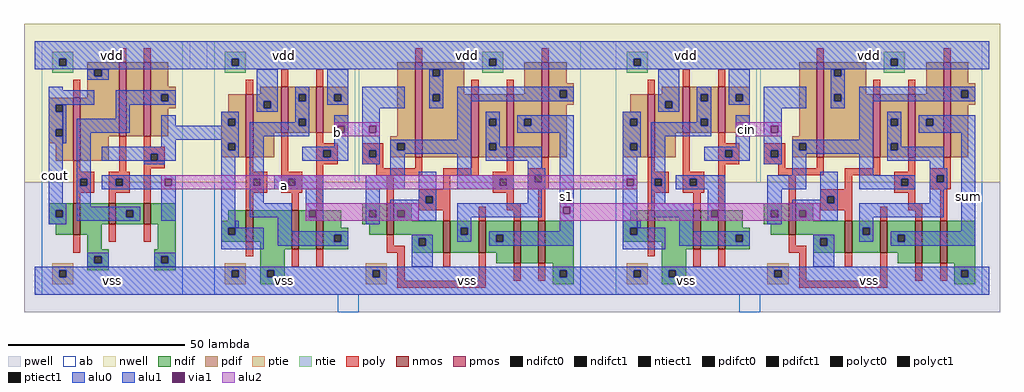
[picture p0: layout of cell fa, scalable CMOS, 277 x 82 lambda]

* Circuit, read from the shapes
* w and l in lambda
.subckt fa a b cin cout s1 sum vdd vss
M1 vss n1 cout vss nfet w=9 l=2
M2 n1 n2 vss vss nfet w=6 l=2
M3 vss n3 n1 vss nfet w=6 l=2
M4 vss n4 n3 vss nfet w=9 l=2
M5 n5 a vss vss nfet w=11 l=2
M6 n4 b n5 vss nfet w=11 l=2
M7 vss b n6 vss nfet w=9 l=2
M8 n7 a vss vss nfet w=9 l=2
M9 s1 b n7 vss nfet w=9 l=2
M10 n8 n6 s1 vss nfet w=12 l=2
M11 vss n7 n8 vss nfet w=12 l=2
M12 vss n9 n2 vss nfet w=9 l=2
M13 n10 s1 vss vss nfet w=11 l=2
M14 n9 cin n10 vss nfet w=11 l=2
M15 vss cin n11 vss nfet w=9 l=2
M16 n12 s1 vss vss nfet w=9 l=2
M17 sum cin n12 vss nfet w=9 l=2
M18 n13 n11 sum vss nfet w=12 l=2
M19 vss n12 n13 vss nfet w=12 l=2
M20 vdd n1 cout vdd pfet w=18 l=2
M21 n14 n2 vdd vdd pfet w=21 l=2
M22 n1 n3 n14 vdd pfet w=21 l=2
M23 vdd n4 n3 vdd pfet w=18 l=2
M24 n4 a vdd vdd pfet w=13 l=2
M25 vdd b n4 vdd pfet w=13 l=2
M26 vdd b n6 vdd pfet w=27 l=2
M27 n7 a vdd vdd pfet w=18 l=2
M28 s1 n6 n7 vdd pfet w=18 l=2
M29 n6 n7 s1 vdd pfet w=27 l=2
M30 vdd n9 n2 vdd pfet w=18 l=2
M31 n9 s1 vdd vdd pfet w=13 l=2
M32 vdd cin n9 vdd pfet w=13 l=2
M33 vdd cin n11 vdd pfet w=27 l=2
M34 n12 s1 vdd vdd pfet w=18 l=2
M35 sum n11 n12 vdd pfet w=18 l=2
M36 n11 n12 sum vdd pfet w=27 l=2
.ends

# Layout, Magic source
magic
tech scmos
<< ab >>
rect -45 5 -5 77
rect -3 69 2 77
rect 4 69 108 77
rect 4 37 44 69
rect 45 37 108 69
rect 4 5 108 37
rect 118 69 222 77
rect 118 37 158 69
rect 159 37 222 69
rect 118 5 222 37
rect 39 0 45 5
rect 153 0 159 5
<< nwell >>
rect -50 37 227 82
<< pwell >>
rect -50 0 227 37
<< poly >>
rect -23 71 -21 75
rect -16 71 -14 75
rect -36 61 -34 66
rect 61 71 63 75
rect 13 62 15 66
rect 23 64 25 69
rect 33 64 35 69
rect -36 40 -34 43
rect -23 40 -21 50
rect -16 47 -14 50
rect -16 45 -10 47
rect -16 43 -14 45
rect -12 43 -10 45
rect -16 41 -10 43
rect -36 38 -30 40
rect -36 36 -34 38
rect -32 36 -30 38
rect -36 34 -30 36
rect -26 38 -20 40
rect -26 36 -24 38
rect -22 36 -20 38
rect -26 34 -20 36
rect -36 31 -34 34
rect -26 31 -24 34
rect -16 31 -14 41
rect 13 40 15 44
rect 23 40 25 51
rect 33 48 35 51
rect 33 46 39 48
rect 33 44 35 46
rect 37 44 39 46
rect 33 42 39 44
rect 46 46 52 48
rect 46 44 48 46
rect 50 44 52 46
rect 97 71 99 75
rect 77 62 79 66
rect 87 62 89 66
rect 175 71 177 75
rect 127 62 129 66
rect 137 64 139 69
rect 147 64 149 69
rect 46 42 52 44
rect 13 38 19 40
rect 13 36 15 38
rect 17 36 19 38
rect 13 34 19 36
rect 23 38 29 40
rect 23 36 25 38
rect 27 36 29 38
rect 23 34 29 36
rect 13 29 15 34
rect 26 29 28 34
rect 33 29 35 42
rect 50 41 52 42
rect 61 41 63 44
rect 77 41 79 44
rect 50 39 63 41
rect 69 39 79 41
rect 87 40 89 44
rect 97 41 99 44
rect 53 31 55 39
rect 69 35 71 39
rect 62 33 71 35
rect 83 38 89 40
rect 83 36 85 38
rect 87 36 89 38
rect 83 34 89 36
rect 93 39 99 41
rect 93 37 95 39
rect 97 37 99 39
rect 93 35 99 37
rect 127 40 129 44
rect 137 40 139 51
rect 147 48 149 51
rect 147 46 153 48
rect 147 44 149 46
rect 151 44 153 46
rect 147 42 153 44
rect 160 46 166 48
rect 160 44 162 46
rect 164 44 166 46
rect 211 71 213 75
rect 191 62 193 66
rect 201 62 203 66
rect 160 42 166 44
rect 127 38 133 40
rect 127 36 129 38
rect 131 36 133 38
rect 62 31 64 33
rect 66 31 71 33
rect -36 17 -34 22
rect -26 20 -24 25
rect -16 20 -14 25
rect 13 16 15 20
rect 62 29 71 31
rect 87 31 89 34
rect 69 26 71 29
rect 79 26 81 30
rect 87 29 91 31
rect 89 26 91 29
rect 96 26 98 35
rect 127 34 133 36
rect 137 38 143 40
rect 137 36 139 38
rect 141 36 143 38
rect 137 34 143 36
rect 127 29 129 34
rect 140 29 142 34
rect 147 29 149 42
rect 164 41 166 42
rect 175 41 177 44
rect 191 41 193 44
rect 164 39 177 41
rect 183 39 193 41
rect 201 40 203 44
rect 211 41 213 44
rect 167 31 169 39
rect 183 35 185 39
rect 176 33 185 35
rect 197 38 203 40
rect 197 36 199 38
rect 201 36 203 38
rect 197 34 203 36
rect 207 39 213 41
rect 207 37 209 39
rect 211 37 213 39
rect 207 35 213 37
rect 176 31 178 33
rect 180 31 185 33
rect 53 19 55 22
rect 26 13 28 18
rect 33 13 35 18
rect 53 17 58 19
rect 56 9 58 17
rect 69 13 71 17
rect 79 9 81 17
rect 127 16 129 20
rect 176 29 185 31
rect 201 31 203 34
rect 183 26 185 29
rect 193 26 195 30
rect 201 29 205 31
rect 203 26 205 29
rect 210 26 212 35
rect 167 19 169 22
rect 89 9 91 14
rect 96 9 98 14
rect 56 7 81 9
rect 140 13 142 18
rect 147 13 149 18
rect 167 17 172 19
rect 170 9 172 17
rect 183 13 185 17
rect 193 9 195 17
rect 203 9 205 14
rect 210 9 212 14
rect 170 7 195 9
<< ndif >>
rect -43 29 -36 31
rect -43 27 -41 29
rect -39 27 -36 29
rect -43 25 -36 27
rect -41 22 -36 25
rect -34 25 -26 31
rect -24 29 -16 31
rect -24 27 -21 29
rect -19 27 -16 29
rect -24 25 -16 27
rect -14 25 -7 31
rect 46 29 53 31
rect 8 26 13 29
rect -34 22 -28 25
rect -32 18 -28 22
rect -12 18 -7 25
rect 6 24 13 26
rect 6 22 8 24
rect 10 22 13 24
rect 6 20 13 22
rect 15 20 26 29
rect -32 16 -26 18
rect -32 14 -30 16
rect -28 14 -26 16
rect -32 12 -26 14
rect -13 16 -7 18
rect 17 18 26 20
rect 28 18 33 29
rect 35 24 40 29
rect 46 27 48 29
rect 50 27 53 29
rect 46 25 53 27
rect 35 22 42 24
rect 48 22 53 25
rect 55 26 60 31
rect 160 29 167 31
rect 122 26 127 29
rect 55 22 69 26
rect 35 20 38 22
rect 40 20 42 22
rect 35 18 42 20
rect 60 21 69 22
rect 60 19 62 21
rect 64 19 69 21
rect -13 14 -11 16
rect -9 14 -7 16
rect -13 12 -7 14
rect 17 12 24 18
rect 60 17 69 19
rect 71 24 79 26
rect 71 22 74 24
rect 76 22 79 24
rect 71 17 79 22
rect 81 22 89 26
rect 81 20 84 22
rect 86 20 89 22
rect 81 17 89 20
rect 17 10 19 12
rect 21 10 24 12
rect 17 8 24 10
rect 84 14 89 17
rect 91 14 96 26
rect 98 14 106 26
rect 120 24 127 26
rect 120 22 122 24
rect 124 22 127 24
rect 120 20 127 22
rect 129 20 140 29
rect 131 18 140 20
rect 142 18 147 29
rect 149 24 154 29
rect 160 27 162 29
rect 164 27 167 29
rect 160 25 167 27
rect 149 22 156 24
rect 162 22 167 25
rect 169 26 174 31
rect 169 22 183 26
rect 149 20 152 22
rect 154 20 156 22
rect 149 18 156 20
rect 174 21 183 22
rect 174 19 176 21
rect 178 19 183 21
rect 100 12 106 14
rect 100 10 102 12
rect 104 10 106 12
rect 100 8 106 10
rect 131 12 138 18
rect 174 17 183 19
rect 185 24 193 26
rect 185 22 188 24
rect 190 22 193 24
rect 185 17 193 22
rect 195 22 203 26
rect 195 20 198 22
rect 200 20 203 22
rect 195 17 203 20
rect 131 10 133 12
rect 135 10 138 12
rect 131 8 138 10
rect 198 14 203 17
rect 205 14 210 26
rect 212 14 220 26
rect 214 12 220 14
rect 214 10 216 12
rect 218 10 220 12
rect 214 8 220 10
<< pdif >>
rect -32 69 -23 71
rect -32 67 -30 69
rect -28 67 -23 69
rect -32 61 -23 67
rect -43 59 -36 61
rect -43 57 -41 59
rect -39 57 -36 59
rect -43 52 -36 57
rect -43 50 -41 52
rect -39 50 -36 52
rect -43 48 -36 50
rect -41 43 -36 48
rect -34 50 -23 61
rect -21 50 -16 71
rect -14 64 -9 71
rect -14 62 -7 64
rect 17 62 23 64
rect -14 60 -11 62
rect -9 60 -7 62
rect -14 58 -7 60
rect -14 50 -9 58
rect 8 57 13 62
rect 6 55 13 57
rect 6 53 8 55
rect 10 53 13 55
rect -34 43 -26 50
rect 6 48 13 53
rect 6 46 8 48
rect 10 46 13 48
rect 6 44 13 46
rect 15 60 23 62
rect 15 58 18 60
rect 20 58 23 60
rect 15 51 23 58
rect 25 62 33 64
rect 25 60 28 62
rect 30 60 33 62
rect 25 55 33 60
rect 25 53 28 55
rect 30 53 33 55
rect 25 51 33 53
rect 35 62 42 64
rect 35 60 38 62
rect 40 60 42 62
rect 35 51 42 60
rect 15 44 21 51
rect 56 50 61 71
rect 54 48 61 50
rect 54 46 56 48
rect 58 46 61 48
rect 54 44 61 46
rect 63 69 75 71
rect 63 67 66 69
rect 68 67 75 69
rect 63 62 75 67
rect 92 62 97 71
rect 63 60 66 62
rect 68 60 77 62
rect 63 44 77 60
rect 79 55 87 62
rect 79 53 82 55
rect 84 53 87 55
rect 79 48 87 53
rect 79 46 82 48
rect 84 46 87 48
rect 79 44 87 46
rect 89 55 97 62
rect 89 53 92 55
rect 94 53 97 55
rect 89 44 97 53
rect 99 65 104 71
rect 99 63 106 65
rect 99 61 102 63
rect 104 61 106 63
rect 131 62 137 64
rect 99 59 106 61
rect 99 44 104 59
rect 122 57 127 62
rect 120 55 127 57
rect 120 53 122 55
rect 124 53 127 55
rect 120 48 127 53
rect 120 46 122 48
rect 124 46 127 48
rect 120 44 127 46
rect 129 60 137 62
rect 129 58 132 60
rect 134 58 137 60
rect 129 51 137 58
rect 139 62 147 64
rect 139 60 142 62
rect 144 60 147 62
rect 139 55 147 60
rect 139 53 142 55
rect 144 53 147 55
rect 139 51 147 53
rect 149 62 156 64
rect 149 60 152 62
rect 154 60 156 62
rect 149 51 156 60
rect 129 44 135 51
rect 170 50 175 71
rect 168 48 175 50
rect 168 46 170 48
rect 172 46 175 48
rect 168 44 175 46
rect 177 69 189 71
rect 177 67 180 69
rect 182 67 189 69
rect 177 62 189 67
rect 206 62 211 71
rect 177 60 180 62
rect 182 60 191 62
rect 177 44 191 60
rect 193 55 201 62
rect 193 53 196 55
rect 198 53 201 55
rect 193 48 201 53
rect 193 46 196 48
rect 198 46 201 48
rect 193 44 201 46
rect 203 55 211 62
rect 203 53 206 55
rect 208 53 211 55
rect 203 44 211 53
rect 213 65 218 71
rect 213 63 220 65
rect 213 61 216 63
rect 218 61 220 63
rect 213 59 220 61
rect 213 44 218 59
<< alu1 >>
rect -47 72 224 77
rect -47 70 -40 72
rect -38 70 9 72
rect 11 70 82 72
rect 84 70 123 72
rect 125 70 196 72
rect 198 70 224 72
rect -47 69 224 70
rect -43 63 -39 64
rect -43 59 -30 63
rect -43 57 -41 59
rect -43 52 -39 57
rect -43 50 -41 52
rect -43 31 -39 50
rect -11 53 -7 56
rect 6 55 11 57
rect 6 53 8 55
rect 10 53 11 55
rect 46 58 58 64
rect -11 49 11 53
rect -11 47 -7 49
rect -28 45 -7 47
rect -28 43 -14 45
rect -12 43 -7 45
rect 6 48 11 49
rect 6 46 8 48
rect 10 46 11 48
rect 6 44 11 46
rect 38 53 42 56
rect 38 51 39 53
rect 41 51 42 53
rect -43 29 -38 31
rect -43 27 -41 29
rect -39 27 -38 29
rect -43 25 -38 27
rect -28 38 -7 39
rect -28 36 -24 38
rect -22 36 -10 38
rect -8 36 -7 38
rect -28 35 -7 36
rect -11 26 -7 35
rect 6 24 10 44
rect 38 47 42 51
rect 29 46 42 47
rect 29 44 35 46
rect 37 44 42 46
rect 29 43 42 44
rect 46 53 51 58
rect 46 51 48 53
rect 50 51 51 53
rect 46 46 51 51
rect 46 44 48 46
rect 50 44 51 46
rect 46 42 51 44
rect 21 38 35 39
rect 21 36 25 38
rect 27 36 35 38
rect 21 35 35 36
rect 6 22 8 24
rect 10 22 18 24
rect 6 18 18 22
rect 30 29 35 35
rect 30 27 31 29
rect 33 27 35 29
rect 30 26 35 27
rect 62 33 67 40
rect 90 55 106 56
rect 90 53 92 55
rect 94 53 106 55
rect 90 51 106 53
rect 62 32 64 33
rect 54 31 64 32
rect 66 31 67 33
rect 54 29 67 31
rect 54 27 56 29
rect 58 27 67 29
rect 54 26 67 27
rect 102 30 106 51
rect 102 28 103 30
rect 105 28 106 30
rect 102 23 106 28
rect 82 22 106 23
rect 82 20 84 22
rect 86 20 106 22
rect 82 19 106 20
rect 120 55 125 57
rect 120 53 122 55
rect 124 53 125 55
rect 160 58 172 64
rect 120 48 125 53
rect 120 46 122 48
rect 124 46 125 48
rect 120 44 125 46
rect 152 53 156 56
rect 152 51 153 53
rect 155 51 156 53
rect 120 38 124 44
rect 120 36 121 38
rect 123 36 124 38
rect 120 24 124 36
rect 152 47 156 51
rect 143 46 156 47
rect 143 44 149 46
rect 151 44 156 46
rect 143 43 156 44
rect 160 53 165 58
rect 160 51 162 53
rect 164 51 165 53
rect 160 46 165 51
rect 160 44 162 46
rect 164 44 165 46
rect 160 42 165 44
rect 135 38 149 39
rect 135 36 139 38
rect 141 36 149 38
rect 135 35 149 36
rect 120 22 122 24
rect 124 22 132 24
rect 120 18 132 22
rect 144 29 149 35
rect 144 27 145 29
rect 147 27 149 29
rect 144 26 149 27
rect 176 33 181 40
rect 204 55 220 56
rect 204 53 206 55
rect 208 53 220 55
rect 204 51 220 53
rect 176 32 178 33
rect 168 31 178 32
rect 180 31 181 33
rect 168 29 181 31
rect 168 27 170 29
rect 172 27 181 29
rect 168 26 181 27
rect 216 23 220 51
rect 196 22 220 23
rect 196 20 198 22
rect 200 20 220 22
rect 196 19 220 20
rect -47 12 224 13
rect -47 10 -40 12
rect -38 10 9 12
rect 11 10 19 12
rect 21 10 49 12
rect 51 10 102 12
rect 104 10 123 12
rect 125 10 133 12
rect 135 10 163 12
rect 165 10 216 12
rect 218 10 224 12
rect -47 5 224 10
<< alu2 >>
rect 38 53 51 54
rect 38 51 39 53
rect 41 51 48 53
rect 50 51 51 53
rect 38 50 51 51
rect 152 53 165 54
rect 152 51 153 53
rect 155 51 162 53
rect 164 51 165 53
rect 152 50 165 51
rect -11 38 124 39
rect -11 36 -10 38
rect -8 36 121 38
rect 123 36 124 38
rect -11 35 124 36
rect 30 29 62 31
rect 30 27 31 29
rect 33 27 56 29
rect 58 27 62 29
rect 30 26 62 27
rect 102 30 176 31
rect 102 28 103 30
rect 105 29 176 30
rect 105 28 145 29
rect 102 27 145 28
rect 147 27 170 29
rect 172 27 176 29
rect 102 26 176 27
<< ptie >>
rect -42 12 -36 14
rect 7 12 13 14
rect -42 10 -40 12
rect -38 10 -36 12
rect -42 8 -36 10
rect 7 10 9 12
rect 11 10 13 12
rect 7 8 13 10
rect 47 12 53 14
rect 47 10 49 12
rect 51 10 53 12
rect 47 8 53 10
rect 121 12 127 14
rect 121 10 123 12
rect 125 10 127 12
rect 121 8 127 10
rect 161 12 167 14
rect 161 10 163 12
rect 165 10 167 12
rect 161 8 167 10
<< ntie >>
rect -42 72 -36 74
rect -42 70 -40 72
rect -38 70 -36 72
rect 7 72 13 74
rect -42 68 -36 70
rect 7 70 9 72
rect 11 70 13 72
rect 80 72 86 74
rect 7 68 13 70
rect 80 70 82 72
rect 84 70 86 72
rect 121 72 127 74
rect 80 68 86 70
rect 121 70 123 72
rect 125 70 127 72
rect 194 72 200 74
rect 121 68 127 70
rect 194 70 196 72
rect 198 70 200 72
rect 194 68 200 70
<< nmos >>
rect -36 22 -34 31
rect -26 25 -24 31
rect -16 25 -14 31
rect 13 20 15 29
rect 26 18 28 29
rect 33 18 35 29
rect 53 22 55 31
rect 69 17 71 26
rect 79 17 81 26
rect 89 14 91 26
rect 96 14 98 26
rect 127 20 129 29
rect 140 18 142 29
rect 147 18 149 29
rect 167 22 169 31
rect 183 17 185 26
rect 193 17 195 26
rect 203 14 205 26
rect 210 14 212 26
<< pmos >>
rect -36 43 -34 61
rect -23 50 -21 71
rect -16 50 -14 71
rect 13 44 15 62
rect 23 51 25 64
rect 33 51 35 64
rect 61 44 63 71
rect 77 44 79 62
rect 87 44 89 62
rect 97 44 99 71
rect 127 44 129 62
rect 137 51 139 64
rect 147 51 149 64
rect 175 44 177 71
rect 191 44 193 62
rect 201 44 203 62
rect 211 44 213 71
<< polyct0 >>
rect -34 36 -32 38
rect 15 36 17 38
rect 85 36 87 38
rect 95 37 97 39
rect 129 36 131 38
rect 199 36 201 38
rect 209 37 211 39
<< polyct1 >>
rect -14 43 -12 45
rect -24 36 -22 38
rect 35 44 37 46
rect 48 44 50 46
rect 25 36 27 38
rect 149 44 151 46
rect 162 44 164 46
rect 64 31 66 33
rect 139 36 141 38
rect 178 31 180 33
<< ndifct0 >>
rect -21 27 -19 29
rect -30 14 -28 16
rect 48 27 50 29
rect 38 20 40 22
rect 62 19 64 21
rect -11 14 -9 16
rect 74 22 76 24
rect 162 27 164 29
rect 152 20 154 22
rect 176 19 178 21
rect 188 22 190 24
<< ndifct1 >>
rect -41 27 -39 29
rect 8 22 10 24
rect 84 20 86 22
rect 19 10 21 12
rect 122 22 124 24
rect 102 10 104 12
rect 198 20 200 22
rect 133 10 135 12
rect 216 10 218 12
<< ntiect1 >>
rect -40 70 -38 72
rect 9 70 11 72
rect 82 70 84 72
rect 123 70 125 72
rect 196 70 198 72
<< ptiect1 >>
rect -40 10 -38 12
rect 9 10 11 12
rect 49 10 51 12
rect 123 10 125 12
rect 163 10 165 12
<< pdifct0 >>
rect -30 67 -28 69
rect -11 60 -9 62
rect 18 58 20 60
rect 28 60 30 62
rect 28 53 30 55
rect 38 60 40 62
rect 56 46 58 48
rect 66 67 68 69
rect 66 60 68 62
rect 82 53 84 55
rect 82 46 84 48
rect 102 61 104 63
rect 132 58 134 60
rect 142 60 144 62
rect 142 53 144 55
rect 152 60 154 62
rect 170 46 172 48
rect 180 67 182 69
rect 180 60 182 62
rect 196 53 198 55
rect 196 46 198 48
rect 216 61 218 63
<< pdifct1 >>
rect -41 57 -39 59
rect -41 50 -39 52
rect 8 53 10 55
rect 8 46 10 48
rect 92 53 94 55
rect 122 53 124 55
rect 122 46 124 48
rect 206 53 208 55
<< alu0 >>
rect -32 67 -30 69
rect -28 67 -26 69
rect -32 66 -26 67
rect -24 62 -7 63
rect -24 60 -11 62
rect -9 60 -7 62
rect -24 59 -7 60
rect 16 60 22 69
rect -39 48 -38 59
rect -24 55 -20 59
rect 16 58 18 60
rect 20 58 22 60
rect 16 57 22 58
rect 27 62 31 64
rect 27 60 28 62
rect 30 60 31 62
rect -35 51 -20 55
rect 27 55 31 60
rect 36 62 42 69
rect 65 67 66 69
rect 68 67 69 69
rect 36 60 38 62
rect 40 60 42 62
rect 36 59 42 60
rect 65 62 69 67
rect 65 60 66 62
rect 68 60 69 62
rect 65 58 69 60
rect 73 63 106 64
rect 73 61 102 63
rect 104 61 106 63
rect 73 60 106 61
rect 130 60 136 69
rect 27 54 28 55
rect -35 38 -31 51
rect 14 53 28 54
rect 30 53 31 55
rect 14 50 31 53
rect -16 42 -10 43
rect -35 36 -34 38
rect -32 36 -31 38
rect -35 30 -31 36
rect -35 29 -17 30
rect -35 27 -21 29
rect -19 27 -17 29
rect -35 26 -17 27
rect 14 38 18 50
rect 73 49 77 60
rect 130 58 132 60
rect 134 58 136 60
rect 130 57 136 58
rect 141 62 145 64
rect 141 60 142 62
rect 144 60 145 62
rect 54 48 77 49
rect 54 46 56 48
rect 58 46 77 48
rect 54 45 77 46
rect 54 39 58 45
rect 14 36 15 38
rect 17 36 18 38
rect 14 31 18 36
rect 14 27 26 31
rect 10 24 11 26
rect 22 23 26 27
rect 47 35 58 39
rect 47 29 51 35
rect 73 39 77 45
rect 81 55 85 57
rect 81 53 82 55
rect 84 53 85 55
rect 81 48 85 53
rect 81 46 82 48
rect 84 47 85 48
rect 84 46 97 47
rect 81 43 97 46
rect 93 41 97 43
rect 93 39 98 41
rect 73 38 89 39
rect 73 36 85 38
rect 87 36 89 38
rect 73 35 89 36
rect 93 37 95 39
rect 97 37 98 39
rect 93 35 98 37
rect 47 27 48 29
rect 50 27 51 29
rect 47 25 51 27
rect 93 31 97 35
rect 73 27 97 31
rect 73 24 77 27
rect 22 22 42 23
rect 73 22 74 24
rect 76 22 77 24
rect 22 20 38 22
rect 40 20 42 22
rect 22 19 42 20
rect 60 21 66 22
rect 60 19 62 21
rect 64 19 66 21
rect 73 20 77 22
rect 141 55 145 60
rect 150 62 156 69
rect 179 67 180 69
rect 182 67 183 69
rect 150 60 152 62
rect 154 60 156 62
rect 150 59 156 60
rect 179 62 183 67
rect 179 60 180 62
rect 182 60 183 62
rect 179 58 183 60
rect 187 63 220 64
rect 187 61 216 63
rect 218 61 220 63
rect 187 60 220 61
rect 141 54 142 55
rect 128 53 142 54
rect 144 53 145 55
rect 128 50 145 53
rect 128 38 132 50
rect 187 49 191 60
rect 168 48 191 49
rect 168 46 170 48
rect 172 46 191 48
rect 168 45 191 46
rect 168 39 172 45
rect 128 36 129 38
rect 131 36 132 38
rect 128 31 132 36
rect 128 27 140 31
rect 124 24 125 26
rect -32 16 -26 17
rect -32 14 -30 16
rect -28 14 -26 16
rect -32 13 -26 14
rect -13 16 -7 17
rect -13 14 -11 16
rect -9 14 -7 16
rect -13 13 -7 14
rect 60 13 66 19
rect 136 23 140 27
rect 161 35 172 39
rect 161 29 165 35
rect 187 39 191 45
rect 195 55 199 57
rect 195 53 196 55
rect 198 53 199 55
rect 195 48 199 53
rect 195 46 196 48
rect 198 47 199 48
rect 198 46 211 47
rect 195 43 211 46
rect 207 41 211 43
rect 207 39 212 41
rect 187 38 203 39
rect 187 36 199 38
rect 201 36 203 38
rect 187 35 203 36
rect 207 37 209 39
rect 211 37 212 39
rect 207 35 212 37
rect 161 27 162 29
rect 164 27 165 29
rect 161 25 165 27
rect 207 31 211 35
rect 187 27 211 31
rect 187 24 191 27
rect 136 22 156 23
rect 187 22 188 24
rect 190 22 191 24
rect 136 20 152 22
rect 154 20 156 22
rect 136 19 156 20
rect 174 21 180 22
rect 174 19 176 21
rect 178 19 180 21
rect 187 20 191 22
rect 174 13 180 19
<< via1 >>
rect 39 51 41 53
rect -10 36 -8 38
rect 48 51 50 53
rect 31 27 33 29
rect 56 27 58 29
rect 103 28 105 30
rect 153 51 155 53
rect 121 36 123 38
rect 162 51 164 53
rect 145 27 147 29
rect 170 27 172 29
<< labels >>
rlabel alu1 76 9 76 9 6 vss
rlabel alu1 76 73 76 73 6 vdd
rlabel alu1 24 73 24 73 6 vdd
rlabel alu1 24 9 24 9 6 vss
rlabel alu1 190 9 190 9 6 vss
rlabel alu1 190 73 190 73 6 vdd
rlabel alu1 218 33 218 33 1 sum
rlabel alu1 138 73 138 73 6 vdd
rlabel alu1 138 9 138 9 6 vss
rlabel alu1 -25 9 -25 9 6 vss
rlabel alu1 -25 73 -25 73 6 vdd
rlabel alu1 24 36 24 36 1 a
rlabel via1 39 51 39 51 1 b
rlabel alu1 104 33 104 33 1 s1
rlabel via1 155 52 155 52 1 cin
rlabel alu1 -41 39 -41 39 1 cout
<< end >>
